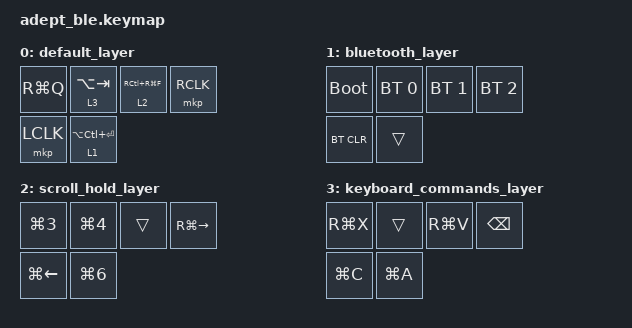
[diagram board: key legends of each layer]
#include <behaviors/mouse_keys.dtsi>
#include <dt-bindings/zmk/mouse.h>
#include <behaviors.dtsi>
#include <dt-bindings/zmk/bt.h>
#include <dt-bindings/zmk/keys.h>

/ {
    combos { compatible = "zmk,combos"; };

    behaviors {
        lhm: layer-hold-or-mouse {
            compatible = "zmk,behavior-hold-tap";
            #binding-cells = <2>;
            flavor = "hold-preferred";
            hold-while-undecided;
            tapping-term-ms = <150>;
            bindings = <&mo>, <&mkp>;
        };

        slm: sticky-layer-or-mouse {
            compatible = "zmk,behavior-tap-dance";
            #binding-cells = <0>;
            tapping-term-ms = <150>;
            bindings = <&mkp RCLK>, <&sl 1>;
        };

        lhk: layer-hold-or-keypress {
            compatible = "zmk,behavior-hold-tap";
            #binding-cells = <2>;
            flavor = "tap-preferred";
            tapping-term-ms = <200>;
            bindings = <&mo>, <&kp>;

            quick-tap-ms = <200>;
        };

        mouse_keys: mouse_keys {
            compatible = "zmk,behavior-tap-dance";
            label = "MOUSE_KEYS";
            #binding-cells = <0>;
            bindings = <&mkp LCLK>, <&mkp RCLK>;
        };
    };

    keymap {
        compatible = "zmk,keymap";

        default_layer {
            bindings = <
&kp RG(Q)  &lhk 3 LA(TAB)        &lhk 2 RC(RG(F))  &mkp RCLK
&mkp LCLK  &lhk 1 LA(LC(ENTER))
            >;
        };

        bluetooth_layer {
            bindings = <
&bootloader  &bt BT_SEL 0  &bt BT_SEL 1  &bt BT_SEL 2
&bt BT_CLR   &trans
            >;
        };

        scroll_hold_layer {
            bindings = <
&kp LG(N3)    &kp LG(N4)  &trans  &kp RG(RIGHT)
&kp LG(LEFT)  &kp LG(N6)
            >;
        };

        keyboard_commands_layer {
            bindings = <
&kp RG(X)  &trans     &kp RG(V)  &kp BSPC
&kp LG(C)  &kp LG(A)
            >;
        };
    };
};
